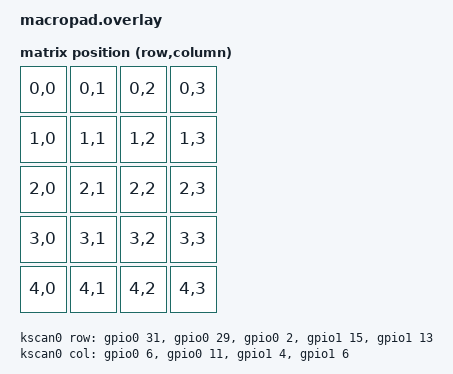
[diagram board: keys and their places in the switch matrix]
#include <dt-bindings/zmk/matrix_transform.h>

/ {
	chosen {
        zmk,physical-layout = &physical_layout0;
	};
	kscan0: kscan0 {
		compatible = "zmk,kscan-gpio-matrix";
		diode-direction = "col2row";
		wakeup-source;

		col-gpios
			= <&gpio0 6 GPIO_ACTIVE_HIGH>
			, <&gpio0 11 GPIO_ACTIVE_HIGH>
			, <&gpio1 4 GPIO_ACTIVE_HIGH>
			, <&gpio1 6 GPIO_ACTIVE_HIGH>
			;

		row-gpios
			= <&gpio0 31 GPIO_ACTIVE_HIGH>
			, <&gpio0 29 GPIO_ACTIVE_HIGH>
			, <&gpio0 2 GPIO_ACTIVE_HIGH>
			, <&gpio1 15 GPIO_ACTIVE_HIGH>
			, <&gpio1 13 GPIO_ACTIVE_HIGH>
			;
	};
	default_transform: keymap_transform0 {
        compatible = "zmk,matrix-transform";
        columns = <4>;
        rows = <5>;
        map = <
        //   Key 1 | Key 2 | Key 3 | Key 4
            RC(0,0) RC(0,1) RC(0,2) RC(0,3)
        //   Key 5 | Key 6 | Key 7 | Key 8
            RC(1,0) RC(1,1) RC(1,2) RC(1,3)
        //   Key 9 | Key 10 | Key 11 | Key 12
            RC(2,0) RC(2,1) RC(2,2) RC(2,3)
		//   Key 13 | Key 14 | Key 15 | Key 16
            RC(3,0) RC(3,1) RC(3,2) RC(3,3)
		//   Key 17 | Key 18 | Key 19 | Key 20
            RC(4,0) RC(4,1) RC(4,2) RC(4,3)
		>;
	};
	physical_layout0: physical_layout_0 {
        compatible = "zmk,physical-layout";
        display-name = "Default Layout";
        kscan = <&kscan0>; 
        transform = <&default_transform>; 
    };
};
